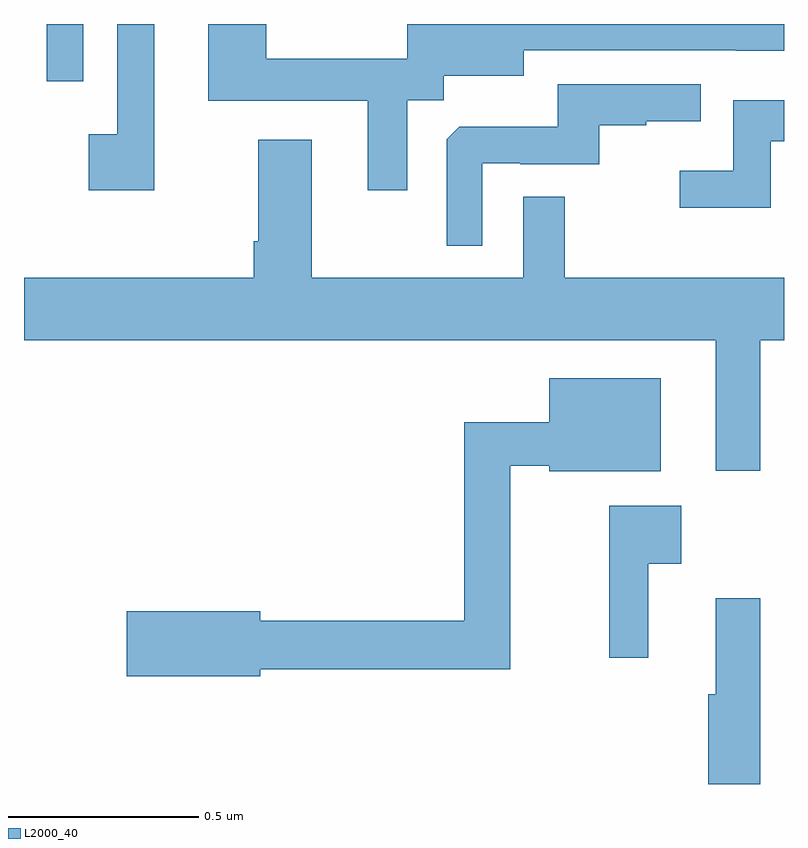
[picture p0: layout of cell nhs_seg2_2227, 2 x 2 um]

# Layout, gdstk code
import gdstk
lib = gdstk.Library(unit=1e-6, precision=1e-09)
def R(c, l, rs):  # rectangles x0, y0, x1, y1
    for r in rs: c.add(gdstk.rectangle(r[:2], r[2:], *l))
def P(c, l, *ps):  # polygons
    for p in ps: c.add(gdstk.Polygon(p, *l))
L2000_40 = (2000, 40)

nhs_seg2_2227 = lib.new_cell('nhs_seg2_2227')
R(nhs_seg2_2227, L2000_40, [(138.06,649.65,138.156,649.8)])
P(nhs_seg2_2227, L2000_40, [(138.343,649.8),(138.246,649.8),(138.246,649.51),(138.171,649.51),(138.171,649.362),(138.343,649.362)],
  [(139.009,649.6),(139.104,649.6),(139.104,649.664),(139.315,649.664),(139.315,649.731),(139.873,649.731),(139.873,649.73),(140,649.73),(140,649.8),(139.008,649.8),(139.008,649.708),(138.637,649.708),(138.637,649.8),(138.485,649.8),(138.485,649.598),(138.905,649.598),(138.905,649.362),(139.009,649.362)],
  [(139.206,649.434),(139.306,649.434),(139.306,649.431),(139.514,649.431),(139.514,649.533),(139.637,649.533),(139.637,649.544),(139.781,649.544),(139.781,649.641),(139.404,649.641),(139.404,649.529),(139.145,649.529),(139.113,649.497),(139.113,649.217),(139.206,649.217)],
  [(139.965,649.491),(140,649.491),(140,649.599),(139.866,649.599),(139.866,649.414),(139.725,649.414),(139.725,649.316),(139.965,649.316)],
  [(139.937,648.968),(140,648.968),(140,649.132),(139.423,649.132),(139.423,649.346),(139.314,649.346),(139.314,649.132),(138.757,649.132),(138.757,649.495),(138.617,649.495),(138.617,649.228),(138.605,649.228),(138.605,649.132),(138,649.132),(138,648.968),(139.82,648.968),(139.82,648.624),(139.937,648.624)],
  [(138.622,648.102),(139.28,648.102),(139.28,648.638),(139.382,648.638),(139.382,648.623),(139.675,648.623),(139.675,648.868),(139.382,648.868),(139.382,648.752),(139.159,648.752),(139.159,648.23),(138.622,648.23),(138.622,648.254),(138.27,648.254),(138.27,648.083),(138.622,648.083)],
  [(139.643,648.38),(139.729,648.38),(139.729,648.532),(139.54,648.532),(139.54,648.132),(139.643,648.132)],
  [(139.937,648.289),(139.82,648.289),(139.82,648.036),(139.801,648.036),(139.801,647.8),(139.937,647.8)])

lib.write_gds('nhs_seg2_2227.gds')
